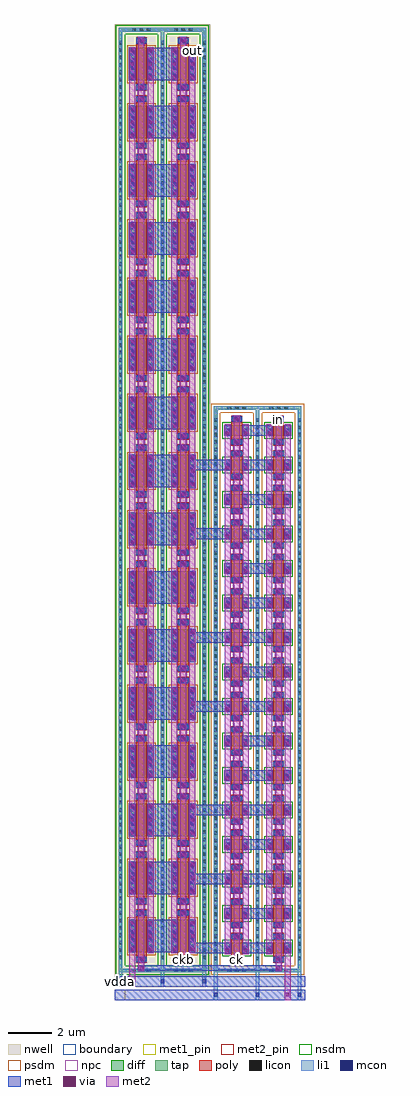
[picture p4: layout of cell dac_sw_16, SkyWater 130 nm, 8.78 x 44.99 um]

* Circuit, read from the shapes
.subckt dac_sw_16 ck ckb in out vdda vssa
XM1 n1 ck out vssa sky130_fd_pr__nfet_01v8 w=0.5 l=0.5 m=16
XM2 vssa in n1 vssa sky130_fd_pr__nfet_01v8 w=0.5 l=0.5 m=16
XM3 n2 in vdda vdda sky130_fd_pr__pfet_01v8 w=1.5 l=0.5 m=16
XM4 out ckb n2 vdda sky130_fd_pr__pfet_01v8 w=1.5 l=0.5 m=16
.ends

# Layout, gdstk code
import gdstk
lib = gdstk.Library(unit=1e-6, precision=1e-09)
def R(c, l, rs):  # rectangles x0, y0, x1, y1
    for r in rs: c.add(gdstk.rectangle(r[:2], r[2:], *l))
def A(c, l, x, y, w, h, nx, ny, dx, dy):  # array of equal rectangles
    R(c, l, [(x+i*dx, y+j*dy, x+i*dx+w, y+j*dy+h) for i in range(nx) for j in range(ny)])
nwell = (64, 20)
diff = (65, 20)
tap = (65, 44)
poly = (66, 20)
licon = (66, 44)
li1 = (67, 20)
mcon = (67, 44)
met1_pin = (68, 16)
met1 = (68, 20)
via = (68, 44)
met2_pin = (69, 16)
met2 = (69, 20)
nsdm = (93, 44)
psdm = (94, 20)
npc = (95, 20)
boundary = (235, 4)

sky130_fd_pr__nfet_01v8_ = lib.new_cell('sky130_fd_pr__nfet_01v8_GPU48F')
A(sky130_fd_pr__nfet_01v8_, diff, -0.54, -12.175, 1.08, 0.5, 1, 16, 0, 1.59)
R(sky130_fd_pr__nfet_01v8_, tap, [(-1.05,-13.045,1.05,-12.875), (-1.05,-12.875,-0.88,12.875), (0.88,-12.875,1.05,12.875), (-1.05,12.875,1.05,13.045)])
A(sky130_fd_pr__nfet_01v8_, poly, -0.25, -12.615, 0.5, 1.38, 1, 16, 0, 1.59)
A(sky130_fd_pr__nfet_01v8_, licon, -0.425, -13.045, 0.17, 0.17, 3, 2, 0.34, 25.92)
A(sky130_fd_pr__nfet_01v8_, licon, -1.05, -12.495, 0.17, 0.17, 1, 17, 0, 0.34)
A(sky130_fd_pr__nfet_01v8_, licon, 0.88, -12.495, 0.17, 0.17, 1, 17, 0, 0.34)
A(sky130_fd_pr__nfet_01v8_, licon, -0.48, -12.01, 0.17, 0.17, 1, 16, 0, 1.59)
A(sky130_fd_pr__nfet_01v8_, licon, 0.31, -12.01, 0.17, 0.17, 1, 16, 0, 1.59)
A(sky130_fd_pr__nfet_01v8_, licon, -1.05, -6.715, 0.17, 0.17, 3, 2, 0.965, 13.26)
A(sky130_fd_pr__nfet_01v8_, licon, -1.05, -6.375, 0.17, 0.17, 1, 38, 0, 0.34)
A(sky130_fd_pr__nfet_01v8_, licon, 0.88, -6.375, 0.17, 0.17, 1, 38, 0, 0.34)
A(sky130_fd_pr__nfet_01v8_, licon, -1.05, 6.885, 0.17, 0.17, 1, 17, 0, 0.34)
A(sky130_fd_pr__nfet_01v8_, licon, 0.88, 6.885, 0.17, 0.17, 1, 17, 0, 0.34)
R(sky130_fd_pr__nfet_01v8_, licon, [(-0.085,-12.535,0.085,-12.365), (-0.085,-11.485,0.085,-11.315), (-0.085,-10.945,0.085,-10.775), (-0.085,-9.895,0.085,-9.725), (-0.085,-9.355,0.085,-9.185), (-0.085,-8.305,0.085,-8.135), (-0.085,-7.765,0.085,-7.595), (-0.085,-6.175,0.085,-6.005), (-0.085,-5.125,0.085,-4.955), (-0.085,-4.585,0.085,-4.415), (-0.085,-3.535,0.085,-3.365), (-0.085,-2.995,0.085,-2.825), (-0.085,-1.945,0.085,-1.775), (-0.085,-1.405,0.085,-1.235), (-0.085,-0.355,0.085,-0.185), (-0.085,0.185,0.085,0.355), (-0.085,1.235,0.085,1.405), (-0.085,1.775,0.085,1.945), (-0.085,2.825,0.085,2.995), (-0.085,3.365,0.085,3.535), (-0.085,4.415,0.085,4.585), (-0.085,4.955,0.085,5.125), (-0.085,6.005,0.085,6.175), (-0.085,7.595,0.085,7.765), (-0.085,8.135,0.085,8.305), (-0.085,9.185,0.085,9.355), (-0.085,9.725,0.085,9.895), (-0.085,10.775,0.085,10.945), (-0.085,11.315,0.085,11.485), (-0.085,12.365,0.085,12.535)])
A(sky130_fd_pr__nfet_01v8_, li1, -0.48, -12.195, 0.17, 0.54, 1, 16, 0, 1.59)
A(sky130_fd_pr__nfet_01v8_, li1, 0.31, -12.195, 0.17, 0.54, 1, 16, 0, 1.59)
R(sky130_fd_pr__nfet_01v8_, li1, [(-1.05,-13.045,1.05,-12.875), (-1.05,-12.875,-0.88,12.875), (0.88,-12.875,1.05,12.875), (-0.25,-12.535,0.25,-12.365), (-0.25,-11.485,0.25,-11.315), (-0.25,-10.945,0.25,-10.775), (-0.25,-9.895,0.25,-9.725), (-0.25,-9.355,0.25,-9.185), (-0.25,-8.305,0.25,-8.135), (-0.25,-7.765,0.25,-7.595), (-0.25,-6.715,0.25,-6.545), (-0.25,-6.175,0.25,-6.005), (-0.25,-5.125,0.25,-4.955), (-0.25,-4.585,0.25,-4.415), (-0.25,-3.535,0.25,-3.365), (-0.25,-2.995,0.25,-2.825), (-0.25,-1.945,0.25,-1.775), (-0.25,-1.405,0.25,-1.235), (-0.25,-0.355,0.25,-0.185), (-0.25,0.185,0.25,0.355), (-0.25,1.235,0.25,1.405), (-0.25,1.775,0.25,1.945), (-0.25,2.825,0.25,2.995), (-0.25,3.365,0.25,3.535), (-0.25,4.415,0.25,4.585), (-0.25,4.955,0.25,5.125), (-0.25,6.005,0.25,6.175), (-0.25,6.545,0.25,6.715), (-0.25,7.595,0.25,7.765), (-0.25,8.135,0.25,8.305), (-0.25,9.185,0.25,9.355), (-0.25,9.725,0.25,9.895), (-0.25,10.775,0.25,10.945), (-0.25,11.315,0.25,11.485), (-0.25,12.365,0.25,12.535), (-1.05,12.875,1.05,13.045)])
A(sky130_fd_pr__nfet_01v8_, mcon, -0.48, -12.01, 0.17, 0.17, 1, 16, 0, 1.59)
A(sky130_fd_pr__nfet_01v8_, mcon, 0.31, -12.01, 0.17, 0.17, 1, 16, 0, 1.59)
R(sky130_fd_pr__nfet_01v8_, mcon, [(-0.085,-12.535,0.085,-12.365), (-0.085,-11.485,0.085,-11.315), (-0.085,-10.945,0.085,-10.775), (-0.085,-9.895,0.085,-9.725), (-0.085,-9.355,0.085,-9.185), (-0.085,-8.305,0.085,-8.135), (-0.085,-7.765,0.085,-7.595), (-0.085,-6.715,0.085,-6.545), (-0.085,-6.175,0.085,-6.005), (-0.085,-5.125,0.085,-4.955), (-0.085,-4.585,0.085,-4.415), (-0.085,-3.535,0.085,-3.365), (-0.085,-2.995,0.085,-2.825), (-0.085,-1.945,0.085,-1.775), (-0.085,-1.405,0.085,-1.235), (-0.085,-0.355,0.085,-0.185), (-0.085,0.185,0.085,0.355), (-0.085,1.235,0.085,1.405), (-0.085,1.775,0.085,1.945), (-0.085,2.825,0.085,2.995), (-0.085,3.365,0.085,3.535), (-0.085,4.415,0.085,4.585), (-0.085,4.955,0.085,5.125), (-0.085,6.005,0.085,6.175), (-0.085,6.545,0.085,6.715), (-0.085,7.595,0.085,7.765), (-0.085,8.135,0.085,8.305), (-0.085,9.185,0.085,9.355), (-0.085,9.725,0.085,9.895), (-0.085,10.775,0.085,10.945), (-0.085,11.315,0.085,11.485), (-0.085,12.365,0.085,12.535)])
A(sky130_fd_pr__nfet_01v8_, met1, -0.51, -12.175, 0.23, 0.5, 1, 16, 0, 1.59)
A(sky130_fd_pr__nfet_01v8_, met1, 0.28, -12.175, 0.23, 0.5, 1, 16, 0, 1.59)
R(sky130_fd_pr__nfet_01v8_, met1, [(-0.23,-12.565,0.23,-12.335), (-0.23,-11.515,0.23,-11.285), (-0.23,-10.975,0.23,-10.745), (-0.23,-9.925,0.23,-9.695), (-0.23,-9.385,0.23,-9.155), (-0.23,-8.335,0.23,-8.105), (-0.23,-7.795,0.23,-7.565), (-0.23,-6.745,0.23,-6.515), (-0.23,-6.205,0.23,-5.975), (-0.23,-5.155,0.23,-4.925), (-0.23,-4.615,0.23,-4.385), (-0.23,-3.565,0.23,-3.335), (-0.23,-3.025,0.23,-2.795), (-0.23,-1.975,0.23,-1.745), (-0.23,-1.435,0.23,-1.205), (-0.23,-0.385,0.23,-0.155), (-0.23,0.155,0.23,0.385), (-0.23,1.205,0.23,1.435), (-0.23,1.745,0.23,1.975), (-0.23,2.795,0.23,3.025), (-0.23,3.335,0.23,3.565), (-0.23,4.385,0.23,4.615), (-0.23,4.925,0.23,5.155), (-0.23,5.975,0.23,6.205), (-0.23,6.515,0.23,6.745), (-0.23,7.565,0.23,7.795), (-0.23,8.105,0.23,8.335), (-0.23,9.155,0.23,9.385), (-0.23,9.695,0.23,9.925), (-0.23,10.745,0.23,10.975), (-0.23,11.285,0.23,11.515), (-0.23,12.335,0.23,12.565)])
A(sky130_fd_pr__nfet_01v8_, nsdm, -0.665, -12.3, 1.33, 0.75, 1, 16, 0, 1.59)
R(sky130_fd_pr__nfet_01v8_, psdm, [(-1.175,-13.17,1.175,-12.75), (-1.175,-12.75,-0.755,12.75), (0.755,-12.75,1.175,12.75), (-1.175,12.75,1.175,13.17)])
A(sky130_fd_pr__nfet_01v8_, npc, -0.185, -11.585, 0.37, 0.91, 1, 15, 0, 1.59)
R(sky130_fd_pr__nfet_01v8_, npc, [(-0.185,-12.635,0.185,-12.265), (-0.185,12.265,0.185,12.635)])
R(sky130_fd_pr__nfet_01v8_, boundary, [(-0.965,-12.96,0.965,12.96)])

sky130_fd_pr__pfet_01v8_ = lib.new_cell('sky130_fd_pr__pfet_01v8_GN49S6')
R(sky130_fd_pr__pfet_01v8_, nwell, [(-1.23,-21.945,1.23,21.945)])
A(sky130_fd_pr__pfet_01v8_, diff, -0.54, -20.85, 1.08, 1.5, 1, 16, 0, 2.68)
R(sky130_fd_pr__pfet_01v8_, tap, [(-1.05,-21.765,1.05,-21.595), (-1.05,-21.595,-0.88,21.595), (0.88,-21.595,1.05,21.595), (-1.05,21.595,1.05,21.765)])
A(sky130_fd_pr__pfet_01v8_, poly, -0.25, -21.335, 0.5, 2.47, 1, 16, 0, 2.68)
A(sky130_fd_pr__pfet_01v8_, licon, -0.425, -21.765, 0.17, 0.17, 3, 2, 0.34, 43.36)
A(sky130_fd_pr__pfet_01v8_, licon, -1.05, -21.165, 0.17, 0.17, 1, 125, 0, 0.34)
A(sky130_fd_pr__pfet_01v8_, licon, 0.88, -21.165, 0.17, 0.17, 1, 125, 0, 0.34)
A(sky130_fd_pr__pfet_01v8_, licon, -0.48, -20.695, 0.17, 0.17, 1, 4, 0, 0.34)
A(sky130_fd_pr__pfet_01v8_, licon, 0.31, -20.695, 0.17, 0.17, 1, 4, 0, 0.34)
A(sky130_fd_pr__pfet_01v8_, licon, -0.48, -18.015, 0.17, 0.17, 1, 4, 0, 0.34)
A(sky130_fd_pr__pfet_01v8_, licon, 0.31, -18.015, 0.17, 0.17, 1, 4, 0, 0.34)
A(sky130_fd_pr__pfet_01v8_, licon, -0.48, -15.335, 0.17, 0.17, 1, 4, 0, 0.34)
A(sky130_fd_pr__pfet_01v8_, licon, 0.31, -15.335, 0.17, 0.17, 1, 4, 0, 0.34)
A(sky130_fd_pr__pfet_01v8_, licon, -0.48, -12.655, 0.17, 0.17, 1, 4, 0, 0.34)
A(sky130_fd_pr__pfet_01v8_, licon, 0.31, -12.655, 0.17, 0.17, 1, 4, 0, 0.34)
A(sky130_fd_pr__pfet_01v8_, licon, -0.48, -9.975, 0.17, 0.17, 1, 4, 0, 0.34)
A(sky130_fd_pr__pfet_01v8_, licon, 0.31, -9.975, 0.17, 0.17, 1, 4, 0, 0.34)
A(sky130_fd_pr__pfet_01v8_, licon, -0.48, -7.295, 0.17, 0.17, 1, 4, 0, 0.34)
A(sky130_fd_pr__pfet_01v8_, licon, 0.31, -7.295, 0.17, 0.17, 1, 4, 0, 0.34)
A(sky130_fd_pr__pfet_01v8_, licon, -0.48, -4.615, 0.17, 0.17, 1, 4, 0, 0.34)
A(sky130_fd_pr__pfet_01v8_, licon, 0.31, -4.615, 0.17, 0.17, 1, 4, 0, 0.34)
A(sky130_fd_pr__pfet_01v8_, licon, -0.48, -1.935, 0.17, 0.17, 1, 4, 0, 0.34)
A(sky130_fd_pr__pfet_01v8_, licon, 0.31, -1.935, 0.17, 0.17, 1, 4, 0, 0.34)
A(sky130_fd_pr__pfet_01v8_, licon, -0.48, 0.745, 0.17, 0.17, 1, 4, 0, 0.34)
A(sky130_fd_pr__pfet_01v8_, licon, 0.31, 0.745, 0.17, 0.17, 1, 4, 0, 0.34)
A(sky130_fd_pr__pfet_01v8_, licon, -0.48, 3.425, 0.17, 0.17, 1, 4, 0, 0.34)
A(sky130_fd_pr__pfet_01v8_, licon, 0.31, 3.425, 0.17, 0.17, 1, 4, 0, 0.34)
A(sky130_fd_pr__pfet_01v8_, licon, -0.48, 6.105, 0.17, 0.17, 1, 4, 0, 0.34)
A(sky130_fd_pr__pfet_01v8_, licon, 0.31, 6.105, 0.17, 0.17, 1, 4, 0, 0.34)
A(sky130_fd_pr__pfet_01v8_, licon, -0.48, 8.785, 0.17, 0.17, 1, 4, 0, 0.34)
A(sky130_fd_pr__pfet_01v8_, licon, 0.31, 8.785, 0.17, 0.17, 1, 4, 0, 0.34)
A(sky130_fd_pr__pfet_01v8_, licon, -0.48, 11.465, 0.17, 0.17, 1, 4, 0, 0.34)
A(sky130_fd_pr__pfet_01v8_, licon, 0.31, 11.465, 0.17, 0.17, 1, 4, 0, 0.34)
A(sky130_fd_pr__pfet_01v8_, licon, -0.48, 14.145, 0.17, 0.17, 1, 4, 0, 0.34)
A(sky130_fd_pr__pfet_01v8_, licon, 0.31, 14.145, 0.17, 0.17, 1, 4, 0, 0.34)
A(sky130_fd_pr__pfet_01v8_, licon, -0.48, 16.825, 0.17, 0.17, 1, 4, 0, 0.34)
A(sky130_fd_pr__pfet_01v8_, licon, 0.31, 16.825, 0.17, 0.17, 1, 4, 0, 0.34)
A(sky130_fd_pr__pfet_01v8_, licon, -0.48, 19.505, 0.17, 0.17, 1, 4, 0, 0.34)
A(sky130_fd_pr__pfet_01v8_, licon, 0.31, 19.505, 0.17, 0.17, 1, 4, 0, 0.34)
R(sky130_fd_pr__pfet_01v8_, licon, [(-0.085,-21.255,0.085,-21.085), (-0.085,-19.115,0.085,-18.945), (-0.085,-18.575,0.085,-18.405), (-0.085,-16.435,0.085,-16.265), (-0.085,-15.895,0.085,-15.725), (-0.085,-13.755,0.085,-13.585), (-0.085,-13.215,0.085,-13.045), (-0.085,-11.075,0.085,-10.905), (-0.085,-10.535,0.085,-10.365), (-0.085,-8.395,0.085,-8.225), (-0.085,-7.855,0.085,-7.685), (-0.085,-5.715,0.085,-5.545), (-0.085,-5.175,0.085,-5.005), (-0.085,-3.035,0.085,-2.865), (-0.085,-2.495,0.085,-2.325), (-0.085,-0.355,0.085,-0.185), (-0.085,0.185,0.085,0.355), (-0.085,2.325,0.085,2.495), (-0.085,2.865,0.085,3.035), (-0.085,5.005,0.085,5.175), (-0.085,5.545,0.085,5.715), (-0.085,7.685,0.085,7.855), (-0.085,8.225,0.085,8.395), (-0.085,10.365,0.085,10.535), (-0.085,10.905,0.085,11.075), (-0.085,13.045,0.085,13.215), (-0.085,13.585,0.085,13.755), (-0.085,15.725,0.085,15.895), (-0.085,16.265,0.085,16.435), (-0.085,18.405,0.085,18.575), (-0.085,18.945,0.085,19.115), (-0.085,21.085,0.085,21.255)])
A(sky130_fd_pr__pfet_01v8_, li1, -0.48, -20.87, 0.17, 1.54, 1, 16, 0, 2.68)
A(sky130_fd_pr__pfet_01v8_, li1, 0.31, -20.87, 0.17, 1.54, 1, 16, 0, 2.68)
R(sky130_fd_pr__pfet_01v8_, li1, [(-1.05,-21.765,1.05,-21.595), (-1.05,-21.595,-0.88,21.595), (0.88,-21.595,1.05,21.595), (-0.25,-21.255,0.25,-21.085), (-0.25,-19.115,0.25,-18.945), (-0.25,-18.575,0.25,-18.405), (-0.25,-16.435,0.25,-16.265), (-0.25,-15.895,0.25,-15.725), (-0.25,-13.755,0.25,-13.585), (-0.25,-13.215,0.25,-13.045), (-0.25,-11.075,0.25,-10.905), (-0.25,-10.535,0.25,-10.365), (-0.25,-8.395,0.25,-8.225), (-0.25,-7.855,0.25,-7.685), (-0.25,-5.715,0.25,-5.545), (-0.25,-5.175,0.25,-5.005), (-0.25,-3.035,0.25,-2.865), (-0.25,-2.495,0.25,-2.325), (-0.25,-0.355,0.25,-0.185), (-0.25,0.185,0.25,0.355), (-0.25,2.325,0.25,2.495), (-0.25,2.865,0.25,3.035), (-0.25,5.005,0.25,5.175), (-0.25,5.545,0.25,5.715), (-0.25,7.685,0.25,7.855), (-0.25,8.225,0.25,8.395), (-0.25,10.365,0.25,10.535), (-0.25,10.905,0.25,11.075), (-0.25,13.045,0.25,13.215), (-0.25,13.585,0.25,13.755), (-0.25,15.725,0.25,15.895), (-0.25,16.265,0.25,16.435), (-0.25,18.405,0.25,18.575), (-0.25,18.945,0.25,19.115), (-0.25,21.085,0.25,21.255), (-1.05,21.595,1.05,21.765)])
A(sky130_fd_pr__pfet_01v8_, mcon, -0.48, -20.725, 0.17, 0.17, 1, 4, 0, 0.36)
A(sky130_fd_pr__pfet_01v8_, mcon, 0.31, -20.725, 0.17, 0.17, 1, 4, 0, 0.36)
A(sky130_fd_pr__pfet_01v8_, mcon, -0.48, -18.045, 0.17, 0.17, 1, 4, 0, 0.36)
A(sky130_fd_pr__pfet_01v8_, mcon, 0.31, -18.045, 0.17, 0.17, 1, 4, 0, 0.36)
A(sky130_fd_pr__pfet_01v8_, mcon, -0.48, -15.365, 0.17, 0.17, 1, 4, 0, 0.36)
A(sky130_fd_pr__pfet_01v8_, mcon, 0.31, -15.365, 0.17, 0.17, 1, 4, 0, 0.36)
A(sky130_fd_pr__pfet_01v8_, mcon, -0.48, -12.685, 0.17, 0.17, 1, 4, 0, 0.36)
A(sky130_fd_pr__pfet_01v8_, mcon, 0.31, -12.685, 0.17, 0.17, 1, 4, 0, 0.36)
A(sky130_fd_pr__pfet_01v8_, mcon, -0.48, -10.005, 0.17, 0.17, 1, 4, 0, 0.36)
A(sky130_fd_pr__pfet_01v8_, mcon, 0.31, -10.005, 0.17, 0.17, 1, 4, 0, 0.36)
A(sky130_fd_pr__pfet_01v8_, mcon, -0.48, -7.325, 0.17, 0.17, 1, 4, 0, 0.36)
A(sky130_fd_pr__pfet_01v8_, mcon, 0.31, -7.325, 0.17, 0.17, 1, 4, 0, 0.36)
A(sky130_fd_pr__pfet_01v8_, mcon, -0.48, -4.645, 0.17, 0.17, 1, 4, 0, 0.36)
A(sky130_fd_pr__pfet_01v8_, mcon, 0.31, -4.645, 0.17, 0.17, 1, 4, 0, 0.36)
A(sky130_fd_pr__pfet_01v8_, mcon, -0.48, -1.965, 0.17, 0.17, 1, 4, 0, 0.36)
A(sky130_fd_pr__pfet_01v8_, mcon, 0.31, -1.965, 0.17, 0.17, 1, 4, 0, 0.36)
A(sky130_fd_pr__pfet_01v8_, mcon, -0.48, 0.715, 0.17, 0.17, 1, 4, 0, 0.36)
A(sky130_fd_pr__pfet_01v8_, mcon, 0.31, 0.715, 0.17, 0.17, 1, 4, 0, 0.36)
A(sky130_fd_pr__pfet_01v8_, mcon, -0.48, 3.395, 0.17, 0.17, 1, 4, 0, 0.36)
A(sky130_fd_pr__pfet_01v8_, mcon, 0.31, 3.395, 0.17, 0.17, 1, 4, 0, 0.36)
A(sky130_fd_pr__pfet_01v8_, mcon, -0.48, 6.075, 0.17, 0.17, 1, 4, 0, 0.36)
A(sky130_fd_pr__pfet_01v8_, mcon, 0.31, 6.075, 0.17, 0.17, 1, 4, 0, 0.36)
A(sky130_fd_pr__pfet_01v8_, mcon, -0.48, 8.755, 0.17, 0.17, 1, 4, 0, 0.36)
A(sky130_fd_pr__pfet_01v8_, mcon, 0.31, 8.755, 0.17, 0.17, 1, 4, 0, 0.36)
A(sky130_fd_pr__pfet_01v8_, mcon, -0.48, 11.435, 0.17, 0.17, 1, 4, 0, 0.36)
A(sky130_fd_pr__pfet_01v8_, mcon, 0.31, 11.435, 0.17, 0.17, 1, 4, 0, 0.36)
A(sky130_fd_pr__pfet_01v8_, mcon, -0.48, 14.115, 0.17, 0.17, 1, 4, 0, 0.36)
A(sky130_fd_pr__pfet_01v8_, mcon, 0.31, 14.115, 0.17, 0.17, 1, 4, 0, 0.36)
A(sky130_fd_pr__pfet_01v8_, mcon, -0.48, 16.795, 0.17, 0.17, 1, 4, 0, 0.36)
A(sky130_fd_pr__pfet_01v8_, mcon, 0.31, 16.795, 0.17, 0.17, 1, 4, 0, 0.36)
A(sky130_fd_pr__pfet_01v8_, mcon, -0.48, 19.475, 0.17, 0.17, 1, 4, 0, 0.36)
A(sky130_fd_pr__pfet_01v8_, mcon, 0.31, 19.475, 0.17, 0.17, 1, 4, 0, 0.36)
R(sky130_fd_pr__pfet_01v8_, mcon, [(-0.085,-21.255,0.085,-21.085), (-0.085,-19.115,0.085,-18.945), (-0.085,-18.575,0.085,-18.405), (-0.085,-16.435,0.085,-16.265), (-0.085,-15.895,0.085,-15.725), (-0.085,-13.755,0.085,-13.585), (-0.085,-13.215,0.085,-13.045), (-0.085,-11.075,0.085,-10.905), (-0.085,-10.535,0.085,-10.365), (-0.085,-8.395,0.085,-8.225), (-0.085,-7.855,0.085,-7.685), (-0.085,-5.715,0.085,-5.545), (-0.085,-5.175,0.085,-5.005), (-0.085,-3.035,0.085,-2.865), (-0.085,-2.495,0.085,-2.325), (-0.085,-0.355,0.085,-0.185), (-0.085,0.185,0.085,0.355), (-0.085,2.325,0.085,2.495), (-0.085,2.865,0.085,3.035), (-0.085,5.005,0.085,5.175), (-0.085,5.545,0.085,5.715), (-0.085,7.685,0.085,7.855), (-0.085,8.225,0.085,8.395), (-0.085,10.365,0.085,10.535), (-0.085,10.905,0.085,11.075), (-0.085,13.045,0.085,13.215), (-0.085,13.585,0.085,13.755), (-0.085,15.725,0.085,15.895), (-0.085,16.265,0.085,16.435), (-0.085,18.405,0.085,18.575), (-0.085,18.945,0.085,19.115), (-0.085,21.085,0.085,21.255)])
A(sky130_fd_pr__pfet_01v8_, met1, -0.51, -20.85, 0.23, 1.5, 1, 16, 0, 2.68)
A(sky130_fd_pr__pfet_01v8_, met1, 0.28, -20.85, 0.23, 1.5, 1, 16, 0, 2.68)
R(sky130_fd_pr__pfet_01v8_, met1, [(-0.23,-21.285,0.23,-21.055), (-0.23,-19.145,0.23,-18.915), (-0.23,-18.605,0.23,-18.375), (-0.23,-16.465,0.23,-16.235), (-0.23,-15.925,0.23,-15.695), (-0.23,-13.785,0.23,-13.555), (-0.23,-13.245,0.23,-13.015), (-0.23,-11.105,0.23,-10.875), (-0.23,-10.565,0.23,-10.335), (-0.23,-8.425,0.23,-8.195), (-0.23,-7.885,0.23,-7.655), (-0.23,-5.745,0.23,-5.515), (-0.23,-5.205,0.23,-4.975), (-0.23,-3.065,0.23,-2.835), (-0.23,-2.525,0.23,-2.295), (-0.23,-0.385,0.23,-0.155), (-0.23,0.155,0.23,0.385), (-0.23,2.295,0.23,2.525), (-0.23,2.835,0.23,3.065), (-0.23,4.975,0.23,5.205), (-0.23,5.515,0.23,5.745), (-0.23,7.655,0.23,7.885), (-0.23,8.195,0.23,8.425), (-0.23,10.335,0.23,10.565), (-0.23,10.875,0.23,11.105), (-0.23,13.015,0.23,13.245), (-0.23,13.555,0.23,13.785), (-0.23,15.695,0.23,15.925), (-0.23,16.235,0.23,16.465), (-0.23,18.375,0.23,18.605), (-0.23,18.915,0.23,19.145), (-0.23,21.055,0.23,21.285)])
R(sky130_fd_pr__pfet_01v8_, nsdm, [(-1.175,-21.89,1.175,-21.47), (-1.175,-21.47,-0.755,21.47), (0.755,-21.47,1.175,21.47), (-1.175,21.47,1.175,21.89)])
A(sky130_fd_pr__pfet_01v8_, psdm, -0.665, -20.975, 1.33, 1.75, 1, 16, 0, 2.68)
A(sky130_fd_pr__pfet_01v8_, npc, -0.185, -19.215, 0.37, 0.91, 1, 15, 0, 2.68)
R(sky130_fd_pr__pfet_01v8_, npc, [(-0.185,-21.355,0.185,-20.985), (-0.185,20.985,0.185,21.355)])
R(sky130_fd_pr__pfet_01v8_, boundary, [(-0.965,-21.68,0.965,21.68)])

dac_sw_16 = lib.new_cell('dac_sw_16')
A(dac_sw_16, li1, 1.36, -11.65, 0.17, 1.45, 3, 1, 1.93, 0)
A(dac_sw_16, li1, -3.03, -11.03, 0.17, 0.83, 3, 1, 1.93, 0)
A(dac_sw_16, mcon, 1.36, -11.495, 0.17, 0.17, 3, 1, 1.93, 0)
A(dac_sw_16, mcon, -3.03, -10.875, 0.17, 0.17, 3, 1, 1.93, 0)
R(dac_sw_16, met1_pin, [(-3.21,-11.65,-2.73,-11.17), (-3.21,-11.03,-2.73,-10.55)])
A(dac_sw_16, met1, 0.21, -9.5, 1.94, 0.5, 1, 3, 0, 3.18)
A(dac_sw_16, met1, 2.67, -9.5, 1.41, 0.5, 1, 16, 0, 1.59)
A(dac_sw_16, met1, 4.6, -9.5, 0.32, 0.5, 1, 16, 0, 1.59)
A(dac_sw_16, met1, -2.56, -9.455, 0.32, 1.5, 1, 16, 0, 2.68)
A(dac_sw_16, met1, -1.72, -9.455, 1.41, 1.5, 1, 16, 0, 2.68)
A(dac_sw_16, met1, 4.105, -8.855, 0.46, 0.26, 1, 4, 0, 6.36)
A(dac_sw_16, met1, 1.83, -7.91, 0.32, 0.5, 1, 3, 0, 3.18)
A(dac_sw_16, met1, 2.185, -7.265, 0.46, 0.26, 1, 4, 0, 6.36)
A(dac_sw_16, met1, 0.21, -1.415, 0.32, 1.5, 1, 3, 0, 8.04)
A(dac_sw_16, met1, 1.83, 0.04, 0.32, 0.5, 1, 3, 0, 3.18)
A(dac_sw_16, met1, 1.83, 7.99, 0.32, 0.5, 1, 3, 0, 3.18)
A(dac_sw_16, met1, 0.21, 17.345, 0.32, 1.5, 1, 6, 0, 2.68)
R(dac_sw_16, met1, [(-3.21,-11.65,5.57,-11.17), (-3.21,-11.03,5.57,-10.55), (-2.14,-10.305,4.5,-10.045), (-2.21,-9.905,-1.75,-9.645), (-0.28,-9.905,0.18,-9.645), (2.18,-9.905,2.64,-9.645), (4.11,-9.905,4.57,-9.645), (0.21,-9,0.53,-7.955), (2.18,-8.855,2.64,-8.595), (2.18,-8.315,2.64,-8.055), (4.11,-8.315,4.57,-8.055), (-2.21,-7.765,-1.75,-7.505), (-0.28,-7.765,0.18,-7.505), (4.11,-7.265,4.57,-7.005), (-2.21,-7.225,-1.75,-6.965), (-0.28,-7.225,0.18,-6.965), (0.21,-6.775,0.53,-6.32), (2.18,-6.725,2.64,-6.465), (4.11,-6.725,4.57,-6.465), (0.21,-5.82,0.53,-5.275), (2.18,-5.675,2.64,-5.415), (4.11,-5.675,4.57,-5.415), (2.18,-5.135,2.64,-4.875), (4.11,-5.135,4.57,-4.875), (-2.21,-5.085,-1.75,-4.825), (-0.28,-5.085,0.18,-4.825), (-2.21,-4.545,-1.75,-4.285), (-0.28,-4.545,0.18,-4.285), (0.21,-4.095,0.53,-3.14), (2.18,-4.085,2.64,-3.825), (4.11,-4.085,4.57,-3.825), (2.18,-3.545,2.64,-3.285), (4.11,-3.545,4.57,-3.285), (0.21,-2.64,0.53,-2.595), (2.18,-2.495,2.64,-2.235), (-2.21,-2.405,-1.75,-2.145), (-0.28,-2.405,0.18,-2.145), (2.18,-1.955,2.64,-1.695), (4.11,-1.955,4.57,-1.695), (-2.21,-1.865,-1.75,-1.605), (-0.28,-1.865,0.18,-1.605), (4.11,-0.905,4.57,-0.645), (2.18,-0.365,2.64,-0.105), (4.11,-0.365,4.57,-0.105), (-2.21,0.275,-1.75,0.535), (-0.28,0.275,0.18,0.535), (2.18,0.685,2.64,0.945), (4.11,0.685,4.57,0.945), (-2.21,0.815,-1.75,1.075), (-0.28,0.815,0.18,1.075), (2.18,1.225,2.64,1.485), (4.11,1.225,4.57,1.485), (0.21,1.265,0.53,1.63), (0.21,1.63,2.15,2.13), (0.21,2.13,0.53,2.765), (2.18,2.275,2.64,2.535), (4.11,2.275,4.57,2.535), (2.18,2.815,2.64,3.075), (4.11,2.815,4.57,3.075), (-2.21,2.955,-1.75,3.215), (-0.28,2.955,0.18,3.215), (-2.21,3.495,-1.75,3.755), (-0.28,3.495,0.18,3.755), (2.18,3.865,2.64,4.125), (0.21,3.945,0.53,4.81), (2.18,4.405,2.64,4.665), (4.11,4.405,4.57,4.665), (0.21,4.81,2.15,5.31), (0.21,5.31,0.53,5.445), (4.11,5.455,4.57,5.715), (-2.21,5.635,-1.75,5.895), (-0.28,5.635,0.18,5.895), (2.18,5.995,2.64,6.255), (4.11,5.995,4.57,6.255), (-2.21,6.175,-1.75,6.435), (-0.28,6.175,0.18,6.435), (2.18,7.045,2.64,7.305), (4.11,7.045,4.57,7.305), (2.18,7.585,2.64,7.845), (4.11,7.585,4.57,7.845), (-2.21,8.315,-1.75,8.575), (-0.28,8.315,0.18,8.575), (2.18,8.635,2.64,8.895), (4.11,8.635,4.57,8.895), (-2.21,8.855,-1.75,9.115), (-0.28,8.855,0.18,9.115), (2.18,9.175,2.64,9.435), (4.11,9.175,4.57,9.435), (0.21,9.305,0.53,9.585), (1.83,9.58,2.15,9.585), (0.21,9.585,2.15,10.085), (0.21,10.085,0.53,10.805), (2.18,10.225,2.64,10.485), (2.18,10.765,2.64,11.025), (4.11,10.765,4.57,11.025), (-2.21,10.995,-1.75,11.255), (-0.28,10.995,0.18,11.255), (-2.21,11.535,-1.75,11.795), (-0.28,11.535,0.18,11.795), (4.11,11.815,4.57,12.075), (0.21,11.94,0.53,12.76), (2.18,12.355,2.64,12.615), (4.11,12.355,4.57,12.615), (0.21,12.76,2.15,13.26), (0.21,13.26,0.53,13.485), (2.18,13.405,2.64,13.665), (4.11,13.405,4.57,13.665), (-2.21,13.675,-1.75,13.935), (-0.28,13.675,0.18,13.935), (2.18,13.945,2.64,14.205), (4.11,13.945,4.57,14.205), (-2.21,14.215,-1.75,14.475), (-0.28,14.215,0.18,14.475), (2.18,14.995,2.64,15.255), (4.11,14.995,4.57,15.255), (-2.21,16.355,-1.75,16.615), (-0.28,16.355,0.18,16.615), (-2.21,16.895,-1.75,17.155), (-0.28,16.895,0.18,17.155), (-2.21,19.035,-1.75,19.295), (-0.28,19.035,0.18,19.295), (-2.21,19.575,-1.75,19.835), (-0.28,19.575,0.18,19.835), (-2.21,21.715,-1.75,21.975), (-0.28,21.715,0.18,21.975), (-2.21,22.255,-1.75,22.515), (-0.28,22.255,0.18,22.515), (-2.21,24.395,-1.75,24.655), (-0.28,24.395,0.18,24.655), (-2.21,24.935,-1.75,25.195), (-0.28,24.935,0.18,25.195), (-2.21,27.075,-1.75,27.335), (-0.28,27.075,0.18,27.335), (-2.21,27.615,-1.75,27.875), (-0.28,27.615,0.18,27.875), (-2.21,29.755,-1.75,30.015), (-0.28,29.755,0.18,30.015), (-2.21,30.295,-1.75,30.555), (-0.28,30.295,0.18,30.555), (-2.21,32.435,-1.75,32.695), (-0.28,32.435,0.18,32.695)])
A(dac_sw_16, via, 1.915, -9.445, 0.15, 0.15, 1, 16, 0, 1.59)
A(dac_sw_16, via, 2.755, -9.445, 0.15, 0.15, 1, 16, 0, 1.59)
A(dac_sw_16, via, 3.845, -9.445, 0.15, 0.15, 1, 16, 0, 1.59)
A(dac_sw_16, via, 4.685, -9.445, 0.15, 0.15, 1, 16, 0, 1.59)
A(dac_sw_16, via, -2.475, -9.4, 0.15, 0.15, 1, 3, 0, 0.62)
A(dac_sw_16, via, -1.635, -9.4, 0.15, 0.15, 1, 3, 0, 0.62)
A(dac_sw_16, via, -0.545, -9.4, 0.15, 0.15, 1, 3, 0, 0.62)
A(dac_sw_16, via, 0.295, -9.4, 0.15, 0.15, 1, 3, 0, 0.62)
A(dac_sw_16, via, -2.475, -6.72, 0.15, 0.15, 1, 3, 0, 0.62)
A(dac_sw_16, via, -1.635, -6.72, 0.15, 0.15, 1, 3, 0, 0.62)
A(dac_sw_16, via, -0.545, -6.72, 0.15, 0.15, 1, 3, 0, 0.62)
A(dac_sw_16, via, 0.295, -6.72, 0.15, 0.15, 1, 3, 0, 0.62)
A(dac_sw_16, via, -2.475, -4.04, 0.15, 0.15, 1, 3, 0, 0.62)
A(dac_sw_16, via, -1.635, -4.04, 0.15, 0.15, 1, 3, 0, 0.62)
A(dac_sw_16, via, -0.545, -4.04, 0.15, 0.15, 1, 3, 0, 0.62)
A(dac_sw_16, via, 0.295, -4.04, 0.15, 0.15, 1, 3, 0, 0.62)
A(dac_sw_16, via, -2.475, -1.36, 0.15, 0.15, 1, 3, 0, 0.62)
A(dac_sw_16, via, -1.635, -1.36, 0.15, 0.15, 1, 3, 0, 0.62)
A(dac_sw_16, via, -0.545, -1.36, 0.15, 0.15, 1, 3, 0, 0.62)
A(dac_sw_16, via, 0.295, -1.36, 0.15, 0.15, 1, 3, 0, 0.62)
A(dac_sw_16, via, -2.475, 1.32, 0.15, 0.15, 1, 3, 0, 0.62)
A(dac_sw_16, via, -1.635, 1.32, 0.15, 0.15, 1, 3, 0, 0.62)
A(dac_sw_16, via, -0.545, 1.32, 0.15, 0.15, 1, 3, 0, 0.62)
A(dac_sw_16, via, 0.295, 1.32, 0.15, 0.15, 1, 3, 0, 0.62)
A(dac_sw_16, via, -2.475, 4, 0.15, 0.15, 1, 3, 0, 0.62)
A(dac_sw_16, via, -1.635, 4, 0.15, 0.15, 1, 3, 0, 0.62)
A(dac_sw_16, via, -0.545, 4, 0.15, 0.15, 1, 3, 0, 0.62)
A(dac_sw_16, via, 0.295, 4, 0.15, 0.15, 1, 3, 0, 0.62)
A(dac_sw_16, via, -2.475, 6.68, 0.15, 0.15, 1, 3, 0, 0.62)
A(dac_sw_16, via, -1.635, 6.68, 0.15, 0.15, 1, 3, 0, 0.62)
A(dac_sw_16, via, -0.545, 6.68, 0.15, 0.15, 1, 3, 0, 0.62)
A(dac_sw_16, via, 0.295, 6.68, 0.15, 0.15, 1, 3, 0, 0.62)
A(dac_sw_16, via, -2.475, 9.36, 0.15, 0.15, 1, 3, 0, 0.62)
A(dac_sw_16, via, -1.635, 9.36, 0.15, 0.15, 1, 3, 0, 0.62)
A(dac_sw_16, via, -0.545, 9.36, 0.15, 0.15, 1, 3, 0, 0.62)
A(dac_sw_16, via, 0.295, 9.36, 0.15, 0.15, 1, 3, 0, 0.62)
A(dac_sw_16, via, -2.475, 12.04, 0.15, 0.15, 1, 3, 0, 0.62)
A(dac_sw_16, via, -1.635, 12.04, 0.15, 0.15, 1, 3, 0, 0.62)
A(dac_sw_16, via, -0.545, 12.04, 0.15, 0.15, 1, 3, 0, 0.62)
A(dac_sw_16, via, 0.295, 12.04, 0.15, 0.15, 1, 3, 0, 0.62)
A(dac_sw_16, via, -2.475, 14.72, 0.15, 0.15, 1, 3, 0, 0.62)
A(dac_sw_16, via, -1.635, 14.72, 0.15, 0.15, 1, 3, 0, 0.62)
A(dac_sw_16, via, -0.545, 14.72, 0.15, 0.15, 1, 3, 0, 0.62)
A(dac_sw_16, via, 0.295, 14.72, 0.15, 0.15, 1, 3, 0, 0.62)
A(dac_sw_16, via, -2.475, 17.4, 0.15, 0.15, 1, 3, 0, 0.62)
A(dac_sw_16, via, -1.635, 17.4, 0.15, 0.15, 1, 3, 0, 0.62)
A(dac_sw_16, via, -0.545, 17.4, 0.15, 0.15, 1, 3, 0, 0.62)
A(dac_sw_16, via, 0.295, 17.4, 0.15, 0.15, 1, 3, 0, 0.62)
A(dac_sw_16, via, -2.475, 20.08, 0.15, 0.15, 1, 3, 0, 0.62)
A(dac_sw_16, via, -1.635, 20.08, 0.15, 0.15, 1, 3, 0, 0.62)
A(dac_sw_16, via, -0.545, 20.08, 0.15, 0.15, 1, 3, 0, 0.62)
A(dac_sw_16, via, 0.295, 20.08, 0.15, 0.15, 1, 3, 0, 0.62)
A(dac_sw_16, via, -2.475, 22.76, 0.15, 0.15, 1, 3, 0, 0.62)
A(dac_sw_16, via, -1.635, 22.76, 0.15, 0.15, 1, 3, 0, 0.62)
A(dac_sw_16, via, -0.545, 22.76, 0.15, 0.15, 1, 3, 0, 0.62)
A(dac_sw_16, via, 0.295, 22.76, 0.15, 0.15, 1, 3, 0, 0.62)
A(dac_sw_16, via, -2.475, 25.44, 0.15, 0.15, 1, 3, 0, 0.62)
A(dac_sw_16, via, -1.635, 25.44, 0.15, 0.15, 1, 3, 0, 0.62)
A(dac_sw_16, via, -0.545, 25.44, 0.15, 0.15, 1, 3, 0, 0.62)
A(dac_sw_16, via, 0.295, 25.44, 0.15, 0.15, 1, 3, 0, 0.62)
A(dac_sw_16, via, -2.475, 28.12, 0.15, 0.15, 1, 3, 0, 0.62)
A(dac_sw_16, via, -1.635, 28.12, 0.15, 0.15, 1, 3, 0, 0.62)
A(dac_sw_16, via, -0.545, 28.12, 0.15, 0.15, 1, 3, 0, 0.62)
A(dac_sw_16, via, 0.295, 28.12, 0.15, 0.15, 1, 3, 0, 0.62)
A(dac_sw_16, via, -2.475, 30.8, 0.15, 0.15, 1, 3, 0, 0.62)
A(dac_sw_16, via, -1.635, 30.8, 0.15, 0.15, 1, 3, 0, 0.62)
A(dac_sw_16, via, -0.545, 30.8, 0.15, 0.15, 1, 3, 0, 0.62)
A(dac_sw_16, via, 0.295, 30.8, 0.15, 0.15, 1, 3, 0, 0.62)
R(dac_sw_16, via, [(4.685,-11.47,4.835,-11.32), (-2.475,-10.85,-2.325,-10.7), (-2.055,-10.25,-1.905,-10.1), (4.265,-10.25,4.415,-10.1), (-2.055,-9.85,-1.905,-9.7), (-0.125,-9.85,0.025,-9.7), (2.335,-9.85,2.485,-9.7), (4.265,-9.85,4.415,-9.7), (2.335,-8.8,2.485,-8.65), (4.265,-8.8,4.415,-8.65), (2.335,-8.26,2.485,-8.11), (4.265,-8.26,4.415,-8.11), (-2.055,-7.71,-1.905,-7.56), (-0.125,-7.71,0.025,-7.56), (2.335,-7.21,2.485,-7.06), (4.265,-7.21,4.415,-7.06), (-2.055,-7.17,-1.905,-7.02), (-0.125,-7.17,0.025,-7.02), (2.335,-6.67,2.485,-6.52), (4.265,-6.67,4.415,-6.52), (2.335,-5.62,2.485,-5.47), (4.265,-5.62,4.415,-5.47), (2.335,-5.08,2.485,-4.93), (4.265,-5.08,4.415,-4.93), (-2.055,-5.03,-1.905,-4.88), (-0.125,-5.03,0.025,-4.88), (-2.055,-4.49,-1.905,-4.34), (-0.125,-4.49,0.025,-4.34), (2.335,-4.03,2.485,-3.88), (4.265,-4.03,4.415,-3.88), (2.335,-3.49,2.485,-3.34), (4.265,-3.49,4.415,-3.34), (2.335,-2.44,2.485,-2.29), (4.265,-2.44,4.415,-2.29), (-2.055,-2.35,-1.905,-2.2), (-0.125,-2.35,0.025,-2.2), (2.335,-1.9,2.485,-1.75), (4.265,-1.9,4.415,-1.75), (-2.055,-1.81,-1.905,-1.66), (-0.125,-1.81,0.025,-1.66), (2.335,-0.85,2.485,-0.7), (4.265,-0.85,4.415,-0.7), (2.335,-0.31,2.485,-0.16), (4.265,-0.31,4.415,-0.16), (-2.055,0.33,-1.905,0.48), (-0.125,0.33,0.025,0.48), (2.335,0.74,2.485,0.89), (4.265,0.74,4.415,0.89), (-2.055,0.87,-1.905,1.02), (-0.125,0.87,0.025,1.02), (2.335,1.28,2.485,1.43), (4.265,1.28,4.415,1.43), (2.335,2.33,2.485,2.48), (4.265,2.33,4.415,2.48), (2.335,2.87,2.485,3.02), (4.265,2.87,4.415,3.02), (-2.055,3.01,-1.905,3.16), (-0.125,3.01,0.025,3.16), (-2.055,3.55,-1.905,3.7), (-0.125,3.55,0.025,3.7), (2.335,3.92,2.485,4.07), (4.265,3.92,4.415,4.07), (2.335,4.46,2.485,4.61), (4.265,4.46,4.415,4.61), (2.335,5.51,2.485,5.66), (4.265,5.51,4.415,5.66), (-2.055,5.69,-1.905,5.84), (-0.125,5.69,0.025,5.84), (2.335,6.05,2.485,6.2), (4.265,6.05,4.415,6.2), (-2.055,6.23,-1.905,6.38), (-0.125,6.23,0.025,6.38), (2.335,7.1,2.485,7.25), (4.265,7.1,4.415,7.25), (2.335,7.64,2.485,7.79), (4.265,7.64,4.415,7.79), (-2.055,8.37,-1.905,8.52), (-0.125,8.37,0.025,8.52), (2.335,8.69,2.485,8.84), (4.265,8.69,4.415,8.84), (-2.055,8.91,-1.905,9.06), (-0.125,8.91,0.025,9.06), (2.335,9.23,2.485,9.38), (4.265,9.23,4.415,9.38), (2.335,10.28,2.485,10.43), (4.265,10.28,4.415,10.43), (2.335,10.82,2.485,10.97), (4.265,10.82,4.415,10.97), (-2.055,11.05,-1.905,11.2), (-0.125,11.05,0.025,11.2), (-2.055,11.59,-1.905,11.74), (-0.125,11.59,0.025,11.74), (2.335,11.87,2.485,12.02), (4.265,11.87,4.415,12.02), (2.335,12.41,2.485,12.56), (4.265,12.41,4.415,12.56), (2.335,13.46,2.485,13.61), (4.265,13.46,4.415,13.61), (-2.055,13.73,-1.905,13.88), (-0.125,13.73,0.025,13.88), (2.335,14,2.485,14.15), (4.265,14,4.415,14.15), (-2.055,14.27,-1.905,14.42), (-0.125,14.27,0.025,14.42), (2.335,15.05,2.485,15.2), (4.265,15.05,4.415,15.2), (-2.055,16.41,-1.905,16.56), (-0.125,16.41,0.025,16.56), (-2.055,16.95,-1.905,17.1), (-0.125,16.95,0.025,17.1), (-2.055,19.09,-1.905,19.24), (-0.125,19.09,0.025,19.24), (-2.055,19.63,-1.905,19.78), (-0.125,19.63,0.025,19.78), (-2.055,21.77,-1.905,21.92), (-0.125,21.77,0.025,21.92), (-2.055,22.31,-1.905,22.46), (-0.125,22.31,0.025,22.46), (-2.055,24.45,-1.905,24.6), (-0.125,24.45,0.025,24.6), (-2.055,24.99,-1.905,25.14), (-0.125,24.99,0.025,25.14), (-2.055,27.13,-1.905,27.28), (-0.125,27.13,0.025,27.28), (-2.055,27.67,-1.905,27.82), (-0.125,27.67,0.025,27.82), (-2.055,29.81,-1.905,29.96), (-0.125,29.81,0.025,29.96), (-2.055,30.35,-1.905,30.5), (-0.125,30.35,0.025,30.5), (-2.055,32.49,-1.905,32.64), (-0.125,32.49,0.025,32.64)])
R(dac_sw_16, met2_pin, [(-0.18,-9.905,0.08,-9.645), (2.28,-9.905,2.54,-9.645), (4.21,14.995,4.47,15.255), (0.24,31.985,0.5,32.245)])
R(dac_sw_16, met2, [(4.62,-11.65,4.9,14.88), (-2.54,-11.03,-2.26,32.275), (-2.12,-10.335,-1.84,32.725), (4.2,-10.335,4.48,15.285), (-0.19,-9.935,0.09,32.725), (2.27,-9.935,2.55,15.285), (1.85,-9.53,2.13,14.88), (2.69,-9.53,2.97,14.88), (3.78,-9.53,4.06,14.88), (-1.7,-9.485,-1.42,32.275), (-0.61,-9.485,-0.33,32.275), (0.23,-9.485,0.51,32.275)])
dac_sw_16.add(gdstk.Reference(sky130_fd_pr__nfet_01v8_, (4.34,2.675)))
dac_sw_16.add(gdstk.Reference(sky130_fd_pr__nfet_01v8_, (2.41,2.675)))
dac_sw_16.add(gdstk.Reference(sky130_fd_pr__pfet_01v8_, (-0.05,11.395)))
dac_sw_16.add(gdstk.Reference(sky130_fd_pr__pfet_01v8_, (-1.98,11.395)))
dac_sw_16.add(gdstk.Label('vdda', (-2.97,-10.79), layer=68, texttype=5))
dac_sw_16.add(gdstk.Label('in', (4.34,15.125), layer=69, texttype=5))
dac_sw_16.add(gdstk.Label('ck', (2.41,-9.775), layer=69, texttype=5))
dac_sw_16.add(gdstk.Label('ckb', (-0.05,-9.775), layer=69, texttype=5))
dac_sw_16.add(gdstk.Label('vssa', (-2.97,-11.41), layer=68, texttype=5))
dac_sw_16.add(gdstk.Label('out', (0.37,32.115), layer=69, texttype=5))

lib.write_gds('dac_sw_16.gds')
